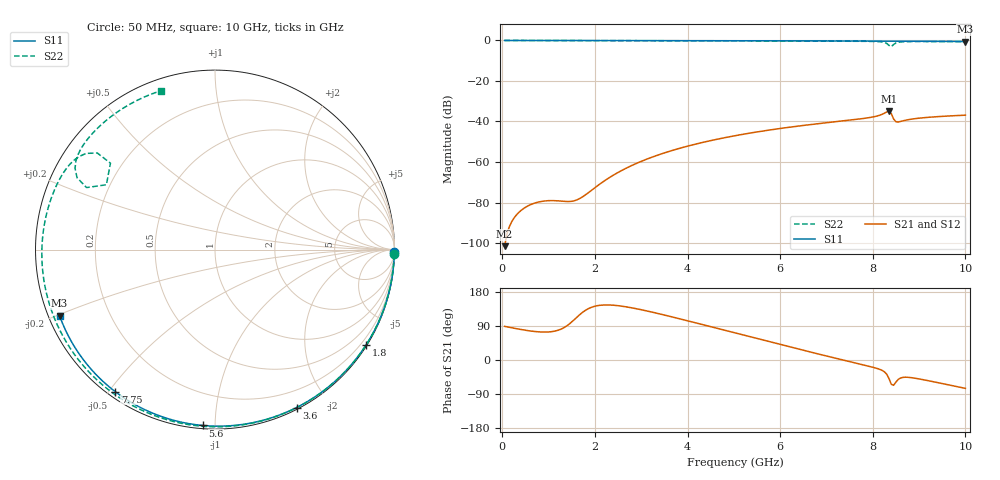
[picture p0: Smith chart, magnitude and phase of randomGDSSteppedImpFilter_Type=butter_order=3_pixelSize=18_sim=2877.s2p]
! freq	dB(S11)	phase(S11)	dB(S12)	phase(S12)
!  dB(S21)	phase(S21)	dB(S22)	phase(S22)
!S-par simulation data
#  GHz  S  DB  R 50
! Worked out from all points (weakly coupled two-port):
!   200 points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, 50 MHz to 10 GHz, reference 50 ohm
!   highest |S21| = -34.92 dB at 8.35 GHz (marker M1); lowest = -101.5 dB at 50 MHz (marker M2)
!   lowest |S11| = -0.5 dB at 10 GHz (marker M3), VSWR 32.96, Z = 1.58 - j10.2 ohm
!   |S11| at or under -10 dB: nowhere
!   |S22| runs from -3.0 to 0.0 dB; largest |S21 - S12| = 0
!   S11 on the Smith chart (normalised r, x): 50 MHz: open; 1.8 GHz: 0.03, -3.47; 3.6 GHz: 0.02, -1.64; 5.6 GHz: 0.02, -0.93; 7.75 GHz: 0.02, -0.52; 10 GHz: 0.03, -0.20
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0.05  -0.00 -0.9  -101.55 88.8  -101.55 88.8  -0.01 -1.5
0.7  -0.02 -12.7  -80.28 75.2  -80.28 75.2  -0.03 -22.2
1  -0.02 -18.0  -79.08 74.0  -79.08 74.0  -0.04 -31.6
1.45  -0.03 -26.0  -79.49 95.3  -79.49 95.3  -0.06 -45.3
1.75  -0.04 -31.3  -76.94 127.3  -76.94 127.3  -0.07 -54.2
1.8  -0.04 -32.2  -76.15 131.4  -76.15 131.4  -0.07 -55.7
2.55  -0.06 -45.1  -64.53 142.6  -64.53 142.6  -0.09 -77.0
3.4  -0.08 -59.4  -56.26 121.6  -56.26 121.6  -0.12 -99.5
3.6  -0.08 -62.7  -54.79 115.7  -54.79 115.7  -0.13 -104.5
4.3  -0.11 -73.9  -50.47 94.1  -50.47 94.1  -0.16 -121.6
5.05  -0.13 -85.6  -46.92 70.6  -46.92 70.6  -0.19 -139.0
5.6  -0.16 -94.0  -44.80 53.4  -44.80 53.4  -0.22 -151.4
6.7  -0.21 -110.1  -41.41 19.6  -41.41 19.6  -0.30 -175.8
7.75  -0.29 -125.1  -38.67 -11.6  -38.67 -11.6  -0.41 159.8
8.15  -0.32 -130.7  -36.91 -24.7  -36.91 -24.7  -0.62 147.9
8.3  -0.34 -132.8  -35.30 -37.4  -35.30 -37.4  -1.43 140.6
8.35  -0.34 -133.6  -34.92 -49.0  -34.92 -49.0  -2.43 140.4
8.4  -0.35 -134.3  -36.12 -64.0  -36.12 -64.0  -3.04 149.2
8.45  -0.35 -135.0  -38.75 -66.7  -38.75 -66.7  -2.00 154.2
8.55  -0.36 -136.4  -40.25 -51.2  -40.25 -51.2  -0.90 149.9
9.05  -0.41 -143.4  -38.24 -51.0  -38.24 -51.0  -0.53 133.4
10  -0.53 -156.9  -36.89 -74.8  -36.89 -74.8  -0.58 108.6
